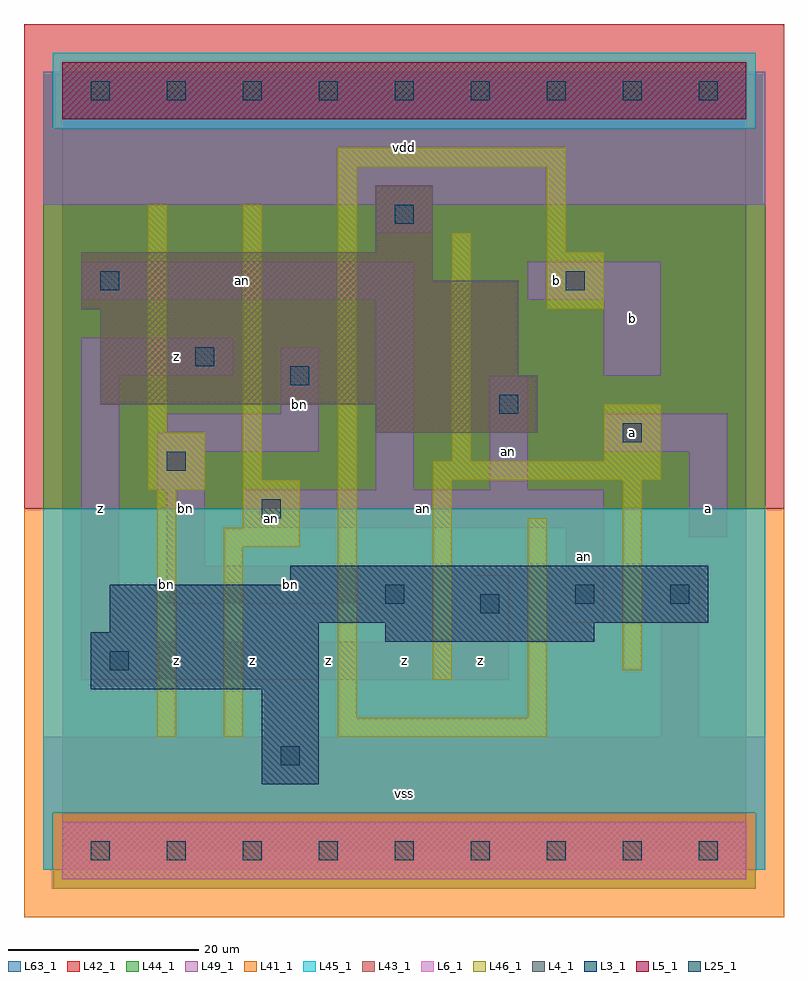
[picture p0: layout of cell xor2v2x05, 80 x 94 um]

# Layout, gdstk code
import gdstk
lib = gdstk.Library(unit=1e-6, precision=1e-09)
def R(c, l, rs):  # rectangles x0, y0, x1, y1
    for r in rs: c.add(gdstk.rectangle(r[:2], r[2:], *l))
def A(c, l, x, y, w, h, nx, ny, dx, dy):  # array of equal rectangles
    R(c, l, [(x+i*dx, y+j*dy, x+i*dx+w, y+j*dy+h) for i in range(nx) for j in range(ny)])
L3_1 = (3, 1)
L4_1 = (4, 1)
L5_1 = (5, 1)
L6_1 = (6, 1)
L25_1 = (25, 1)
L41_1 = (41, 1)
L42_1 = (42, 1)
L43_1 = (43, 1)
L44_1 = (44, 1)
L45_1 = (45, 1)
L46_1 = (46, 1)
L49_1 = (49, 1)
L63_1 = (63, 1)

xor2v2x05 = lib.new_cell('xor2v2x05')
R(xor2v2x05, L3_1, [(21,7,27,17), (3,17,27,23), (34,22,56,24), (5,23,27,24), (5,24,68,28), (24,28,68,30)])
R(xor2v2x05, L4_1, [(33,44,50,47), (4,47,50,50), (4,50,48,57), (2,57,48,60), (2,60,39,63), (33,63,39,70)])
R(xor2v2x05, L5_1, [(0,77,72,83)])
R(xor2v2x05, L6_1, [(0,-3,72,3), (0,-3,72,3)])
A(xor2v2x05, L25_1, 3, -1, 2, 2, 9, 2, 8, 80)
R(xor2v2x05, L25_1, [(23,9,25,11), (5,19,7,21), (44,25,46,27), (34,26,36,28), (54,26,56,28), (64,26,66,28), (21,35,23,37), (11,40,13,42), (59,43,61,45), (46,46,48,48), (24,49,26,51), (14,51,16,53), (4,59,6,61), (53,59,55,61), (35,66,37,68)])
R(xor2v2x05, L41_1, [(-4,-7,76,36)])
R(xor2v2x05, L42_1, [(-4,36,76,87)])
R(xor2v2x05, L43_1, [(0,-3,72,3), (21,7,27,17), (3,17,27,23), (34,22,56,24), (5,23,27,24), (5,24,68,28), (24,28,68,30), (33,44,50,47), (4,47,50,50), (4,50,48,57), (2,57,48,60), (2,60,39,63), (33,63,39,70), (0,77,72,83)])
R(xor2v2x05, L44_1, [(-1,-4,73,4), (-2,36,74,76), (-2,76,-1,82), (73,76,74,82)])
R(xor2v2x05, L45_1, [(-2,-2,-1,4), (73,-2,74,4), (-2,4,74,36), (-1,76,73,84)])
R(xor2v2x05, L46_1, [(10,12,12,38), (17,12,19,32), (29,12,51,14), (29,14,31,72), (49,14,51,35), (39,18,41,39), (59,19,61,39), (17,32,25,34), (19,34,25,39), (9,38,15,44), (19,39,21,68), (39,39,63,41), (41,41,43,65), (57,41,63,47), (9,44,11,68), (51,57,57,63), (51,63,53,72), (29,72,53,74)])
R(xor2v2x05, L49_1, [(-2,-2,74,12), (63,12,67,30), (2,18,47,22), (2,22,6,50), (43,22,47,29), (53,24,57,34), (32,25,38,26), (11,26,38,30), (11,30,15,38), (66,33,70,42), (19,34,57,38), (10,38,15,42), (33,38,37,58), (45,38,49,50), (10,42,27,44), (57,42,70,46), (11,44,27,46), (23,46,27,53), (2,50,18,54), (57,50,63,58), (2,58,37,62), (49,58,63,62), (33,65,39,68), (-2,68,74,82)])
R(xor2v2x05, L63_1, [(0,0,72,80)])
xor2v2x05.add(gdstk.Label('an', (22,35), layer=49, texttype=1))
xor2v2x05.add(gdstk.Label('bn', (11,28), layer=46, texttype=1))
xor2v2x05.add(gdstk.Label('z', (4,36), layer=49, texttype=1))
xor2v2x05.add(gdstk.Label('z', (12,20), layer=49, texttype=1))
xor2v2x05.add(gdstk.Label('z', (20,20), layer=49, texttype=1))
xor2v2x05.add(gdstk.Label('bn', (13,36), layer=49, texttype=1))
xor2v2x05.add(gdstk.Label('bn', (25,47), layer=49, texttype=1))
xor2v2x05.add(gdstk.Label('z', (12,52), layer=49, texttype=1))
xor2v2x05.add(gdstk.Label('vss', (36,6), layer=49, texttype=1))
xor2v2x05.add(gdstk.Label('z', (28,20), layer=49, texttype=1))
xor2v2x05.add(gdstk.Label('bn', (24,28), layer=49, texttype=1))
xor2v2x05.add(gdstk.Label('z', (36,20), layer=49, texttype=1))
xor2v2x05.add(gdstk.Label('an', (19,60), layer=49, texttype=1))
xor2v2x05.add(gdstk.Label('vdd', (36,74), layer=49, texttype=1))
xor2v2x05.add(gdstk.Label('z', (44,20), layer=49, texttype=1))
xor2v2x05.add(gdstk.Label('an', (55,31), layer=49, texttype=1))
xor2v2x05.add(gdstk.Label('an', (38,36), layer=49, texttype=1))
xor2v2x05.add(gdstk.Label('an', (47,42), layer=49, texttype=1))
xor2v2x05.add(gdstk.Label('b', (52,60), layer=49, texttype=1))
xor2v2x05.add(gdstk.Label('a', (60,44), layer=49, texttype=1))
xor2v2x05.add(gdstk.Label('a', (68,36), layer=49, texttype=1))
xor2v2x05.add(gdstk.Label('b', (60,56), layer=49, texttype=1))

lib.write_gds('xor2v2x05.gds')
